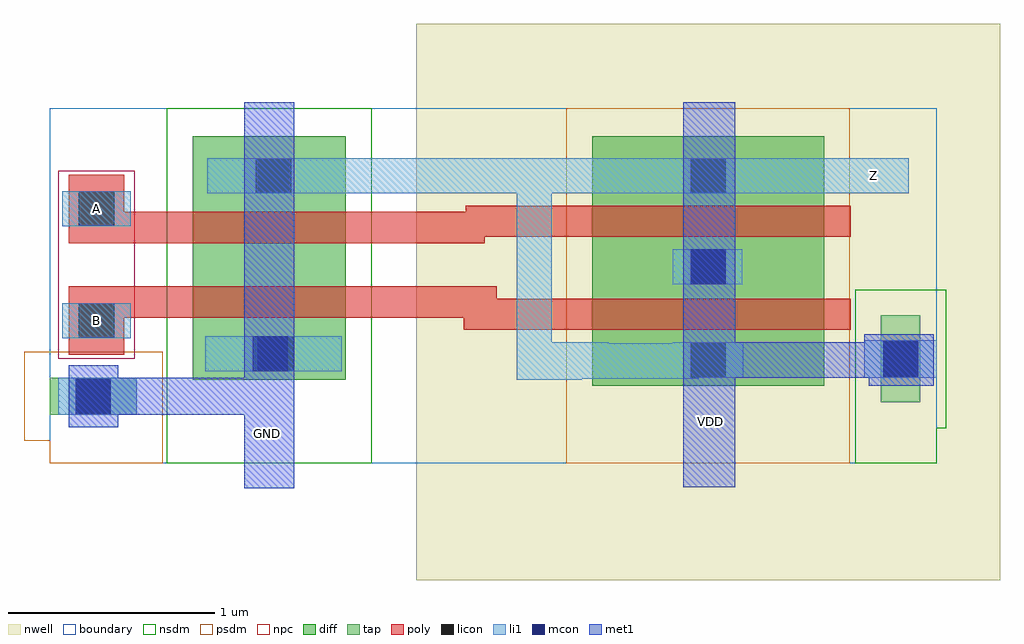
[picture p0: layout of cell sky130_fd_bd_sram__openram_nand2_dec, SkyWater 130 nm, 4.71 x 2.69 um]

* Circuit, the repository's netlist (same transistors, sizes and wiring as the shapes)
* Copyright 2020 The SkyWater PDK Authors
*
* Licensed under the Apache License, Version 2.0 (the "License");
* you may not use this file except in compliance with the License.
* You may obtain a copy of the License at
*
*     https://www.apache.org/licenses/LICENSE-2.0
*
* Unless required by applicable law or agreed to in writing, software
* distributed under the License is distributed on an "AS IS" BASIS,
* WITHOUT WARRANTIES OR CONDITIONS OF ANY KIND, either express or implied.
* See the License for the specific language governing permissions and
* limitations under the License.
*
* SPDX-License-Identifier: Apache-2.0


.subckt sky130_fd_bd_sram__openram_nand2_dec GND VDD
X0 Z A VDD VDD sky130_fd_pr__pfet_01v8 w=1.12e+06u l=150000u
X1 VDD B Z VDD sky130_fd_pr__pfet_01v8 w=1.12e+06u l=150000u
X2 a_196_224# B GND GND sky130_fd_pr__nfet_01v8 w=740000u l=150000u
X3 Z A a_196_224# GND sky130_fd_pr__nfet_01v8 w=740000u l=150000u
.ends

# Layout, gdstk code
import gdstk
lib = gdstk.Library(unit=1e-6, precision=1e-09)
def R(c, l, rs):  # rectangles x0, y0, x1, y1
    for r in rs: c.add(gdstk.rectangle(r[:2], r[2:], *l))
nwell = (64, 20)
diff = (65, 20)
tap = (65, 44)
poly = (66, 20)
licon = (66, 44)
li1 = (67, 20)
mcon = (67, 44)
met1 = (68, 20)
nsdm = (93, 44)
psdm = (94, 20)
npc = (95, 20)
boundary = (235, 4)

sky130_fd_bd_sram__openr = lib.new_cell('sky130_fd_bd_sram__openram_nand2_dec')
R(sky130_fd_bd_sram__openr, nwell, [(2.06,-0.3,4.88,2.39)])
R(sky130_fd_bd_sram__openr, diff, [(2.91,0.64,4.03,1.845), (0.98,0.67,1.72,1.845)])
R(sky130_fd_bd_sram__openr, tap, [(0.29,0.5,0.71,0.68), (4.305,0.56,4.495,0.98)])
R(sky130_fd_bd_sram__openr, poly, [(0.38,0.79,0.65,0.97), (2.29,0.91,4.16,0.97), (0.38,0.97,4.16,1.06), (0.38,1.06,2.45,1.12), (0.38,1.33,2.39,1.36), (0.38,1.36,4.16,1.48), (0.38,1.48,0.65,1.66), (2.3,1.48,4.16,1.51)])
R(sky130_fd_bd_sram__openr, licon, [(0.415,0.505,0.585,0.675), (3.385,0.68,3.555,0.85), (4.315,0.685,4.485,0.855), (1.295,0.71,1.465,0.88), (0.43,0.87,0.6,1.04), (3.385,1.13,3.555,1.3), (0.43,1.41,0.6,1.58), (1.285,1.57,1.455,1.74), (3.385,1.57,3.555,1.74)])
R(sky130_fd_bd_sram__openr, li1, [(0.33,0.5,0.71,0.68), (2.545,0.67,2.86,0.675), (2.545,0.675,3.425,0.68), (2.545,0.68,3.64,0.845), (4.225,0.68,4.575,0.86), (1.04,0.71,1.7,0.88), (2.545,0.845,2.99,0.85), (3.3,0.845,3.64,0.85), (2.545,0.85,2.715,1.57), (0.35,0.87,0.68,1.04), (3.3,1.13,3.635,1.3), (0.35,1.41,0.68,1.58), (1.05,1.57,4.44,1.74)])
R(sky130_fd_bd_sram__openr, mcon, [(0.415,0.505,0.585,0.675), (4.315,0.685,4.485,0.855), (1.27,0.71,1.44,0.88), (3.385,1.13,3.555,1.3)])
R(sky130_fd_bd_sram__openr, met1, [(1.23,0.145,1.47,0.5), (3.35,0.15,3.6,0.68), (0.38,0.44,0.62,0.5), (0.38,0.5,1.47,0.68), (4.245,0.64,4.56,0.68), (0.38,0.68,0.62,0.74), (1.23,0.68,1.47,2.01), (3.35,0.68,4.56,0.85), (3.35,0.85,3.6,2.01), (4.225,0.85,4.56,0.89)])
R(sky130_fd_bd_sram__openr, nsdm, [(0.855,0.265,1.845,1.98), (4.18,0.265,4.575,0.435), (4.18,0.435,4.62,1.105)])
R(sky130_fd_bd_sram__openr, psdm, [(0.29,0.265,0.835,0.375), (2.785,0.265,4.155,1.98), (0.165,0.375,0.835,0.805)])
R(sky130_fd_bd_sram__openr, npc, [(0.33,0.77,0.7,1.68)])
R(sky130_fd_bd_sram__openr, boundary, [(0.29,0.265,4.575,1.98)])
sky130_fd_bd_sram__openr.add(gdstk.Label('B', (0.515,0.955), layer=67, texttype=20))
sky130_fd_bd_sram__openr.add(gdstk.Label('A', (0.515,1.495), layer=67, texttype=20))
sky130_fd_bd_sram__openr.add(gdstk.Label('Z', (4.27,1.655), layer=67, texttype=20))
sky130_fd_bd_sram__openr.add(gdstk.Label('VDD', (3.48,0.47), layer=68, texttype=16))
sky130_fd_bd_sram__openr.add(gdstk.Label('GND', (1.34,0.41), layer=68, texttype=16))

lib.write_gds('sky130_fd_bd_sram__openram_nand2_dec.gds')
